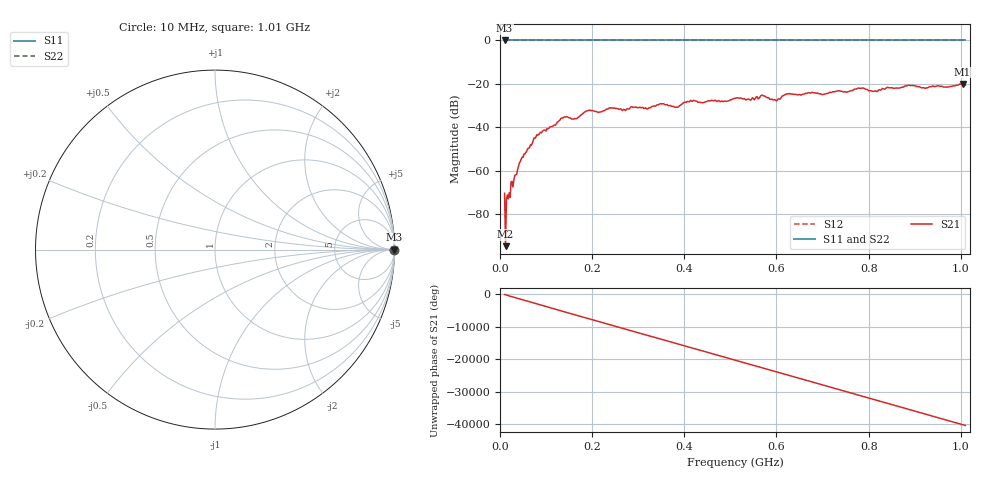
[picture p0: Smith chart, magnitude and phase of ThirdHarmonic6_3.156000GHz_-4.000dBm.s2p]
! 8/17/2025 9:27:41 AM
! C:\ANRITSUVNA\TEMP\TEMP.S2P
! CHANNEL.1
! TR.MEASUREMENT
! RAW.DATA
! RF.CORRECTION.OFF
! AVERAGING.OFF
! IF.BANDWIDTH: 5KHZ
! SWEEPTYPE:  FREQ.SWEEP(Linear)
! Reference Plane Port Info
! PORT:  PORT1  PORT2
! DISTANCE:  0  m  0  m
! TIME:  0  s  0  s
! PHASE.OFFSET:  0  deg.  0  deg.
! LOSS:  0  dB  0  dB
! REF.LOSS:  0  dB  0  dB
! REF.FREQ:  0  Hz  0  Hz
! Power Info
! POWER:  -20  dBm  -20  dBm
! EFF.POWER:  -20  dBm  -20  dBm
! SOURCE.ATTEN:  0  dB  0  dB
! TEST.ATTEN:  0  dB  0  dB
# GHZ S RI R 50.0
! FREQ.GHZ  S11RE  S11IM  S21RE  S21IM  S12RE  S12IM  S22RE  S22IM
!; PortSelection: Port_12
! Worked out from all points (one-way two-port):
!   501 points, 10 MHz to 1.01 GHz, reference 50 ohm
!   highest |S21| = -20.04 dB at 1.004 GHz (marker M1); lowest = -94.7 dB at 12 MHz (marker M2)
!   lowest |S11| = 0.0 dB at 10 MHz (marker M3)
!   |S11| at or under -10 dB: nowhere
!   |S22| runs from 0.0 to 0.0 dB; largest |S21 - S12| = 1.1
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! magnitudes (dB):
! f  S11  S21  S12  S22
! 10 MHz  0.0  -70.3  0.0  0.0
! 12 MHz  0.0  -94.7  0.0  0.0
! 16 MHz  0.0  -71.1  0.0  0.0
! 44 MHz  0.0  -55.7  0.0  0.0
! 78 MHz  0.0  -44.4  0.0  0.0
! 136 MHz  0.0  -35.7  0.0  0.0
! 162 MHz  0.0  -36.0  0.0  0.0
! 178 MHz  0.0  -34.0  0.0  0.0
! 192 MHz  0.0  -32.2  0.0  0.0
! 322 MHz  0.0  -31.2  0.0  0.0
! 344 MHz  0.0  -29.6  0.0  0.0
! 382 MHz  0.0  -30.7  0.0  0.0
! 418 MHz  0.0  -28.0  0.0  0.0
! 510 MHz  0.0  -26.6  0.0  0.0
! 570 MHz  0.0  -25.3  0.0  0.0
! 598 MHz  0.0  -27.4  0.0  0.0
! 624 MHz  0.0  -24.6  0.0  0.0
! 678 MHz  0.0  -23.9  0.0  0.0
! 814 MHz  0.0  -23.2  0.0  0.0
! 844 MHz  0.0  -21.8  0.0  0.0
! 1.004 GHz  0.0  -20.0  0.0  0.0
! 1.01 GHz  0.0  -20.6  0.0  0.0
